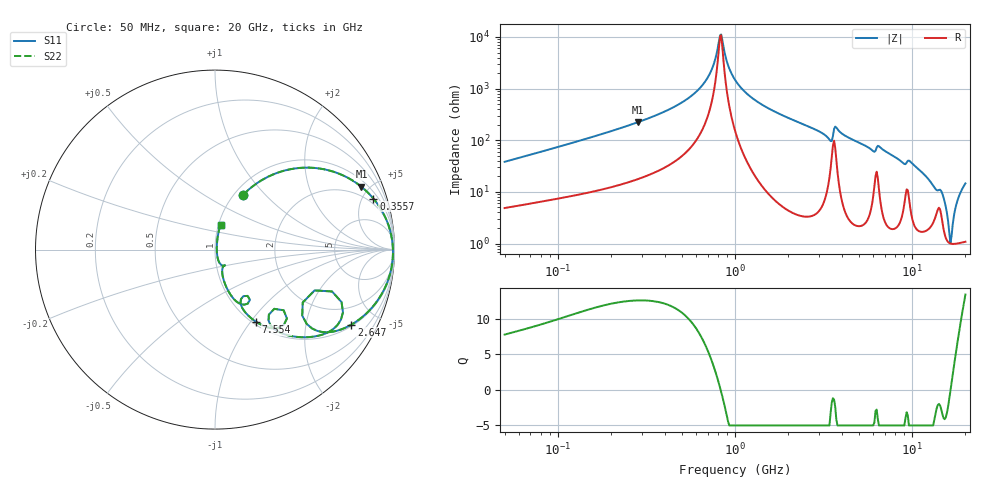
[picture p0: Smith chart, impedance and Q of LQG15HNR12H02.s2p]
!Murata Part Number: LQG15HNR12H02
!These Parameters are Measured in Series Mode Connection
!  o--[Z]--o
!Port1  Port2
!  o-------o
!Freq. Start=50[MHz] Stop=20[GHz], 401[Steps]
# Hz S RI R 50
!Freq.(Hz) S11(Real) S11(Imag) S21(Real) S21(Imag) S12(Real) S12(Imag) S22(Real) S22(Imag)
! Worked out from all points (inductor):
!   401 points, 50 MHz to 20 GHz, reference 50 ohm
!   read as one part in series: L = 118 nH near 51.52 MHz
!   highest Q = 12.6 at 284.2 MHz (marker M1), where L = 125 nH
!   self-resonance near 823.1 MHz
!   S11 on the Smith chart (normalised r, x): 50 MHz: 1.10, +0.76; 355.7 MHz: 1.48, +6.01; 2.647 GHz: 1.07, -3.59; 7.554 GHz: 1.04, -1.06; 20 GHz: 1.02, +0.29
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5e7  0.1566 0.3049  0.8434 -0.3049  0.8434 -0.3049  0.1566 0.3049
1.364002e8  0.5034 0.4567  0.4966 -0.4567  0.4966 -0.4567  0.5034 0.4567
2.841629e8  0.8161 0.3498  0.1839 -0.3498  0.1839 -0.3498  0.8161 0.3498
3.557498e8  0.8827 0.2842  0.1173 -0.2842  0.1173 -0.2842  0.8827 0.2842
3.721004e8  0.8939 0.2702  0.1061 -0.2702  0.1061 -0.2702  0.8939 0.2702
6.476653e8  0.9806 0.086  0.0194 -0.086  0.0194 -0.086  0.9806 0.086
7.411344e8  0.9885 0.0395  0.0115 -0.0395  0.0115 -0.0395  0.9885 0.0395
8.230629e8  0.9913 0.00296  0.00874 -0.00296  0.00874 -0.00296  0.9913 0.00296
1e9  0.9886 -0.066  0.0114 0.066  0.0114 0.066  0.9886 -0.066
1.411297e9  0.9561 -0.1919  0.0439 0.1919  0.0439 0.1919  0.9561 -0.1919
2.647493e9  0.7594 -0.4183  0.2406 0.4183  0.2406 0.4183  0.7594 -0.4183
2.728004e9  0.7426 -0.4273  0.2574 0.4273  0.2574 0.4273  0.7426 -0.4273
3.415248e9  0.5112 -0.4143  0.4888 0.4143  0.4888 0.4143  0.5112 -0.4143
3.626126e9  0.6522 -0.2332  0.3478 0.2332  0.3478 0.2332  0.6522 -0.2332
4.34015e9  0.5641 -0.4824  0.4359 0.4824  0.4359 0.4824  0.5641 -0.4824
7.442007e9  0.2394 -0.4089  0.7606 0.4089  0.7606 0.4089  0.2394 -0.4089
7.554318e9  0.229 -0.4024  0.771 0.4024  0.771 0.4024  0.229 -0.4024
1.004137e10  0.1292 -0.2965  0.8708 0.2965  0.8708 0.2965  0.1292 -0.2965
1.460232e10  0.0433 -0.0902  0.9567 0.0902  0.9567 0.0902  0.0433 -0.0902
1.646126e10  0.0099 -0.00137  0.9901 0.00137  0.9901 0.00137  0.0099 -0.00137
1.828096e10  0.0157 0.075  0.9843 -0.075  0.9843 -0.075  0.0157 0.075
2e10  0.0307 0.1394  0.9693 -0.1394  0.9693 -0.1394  0.0307 0.1394
